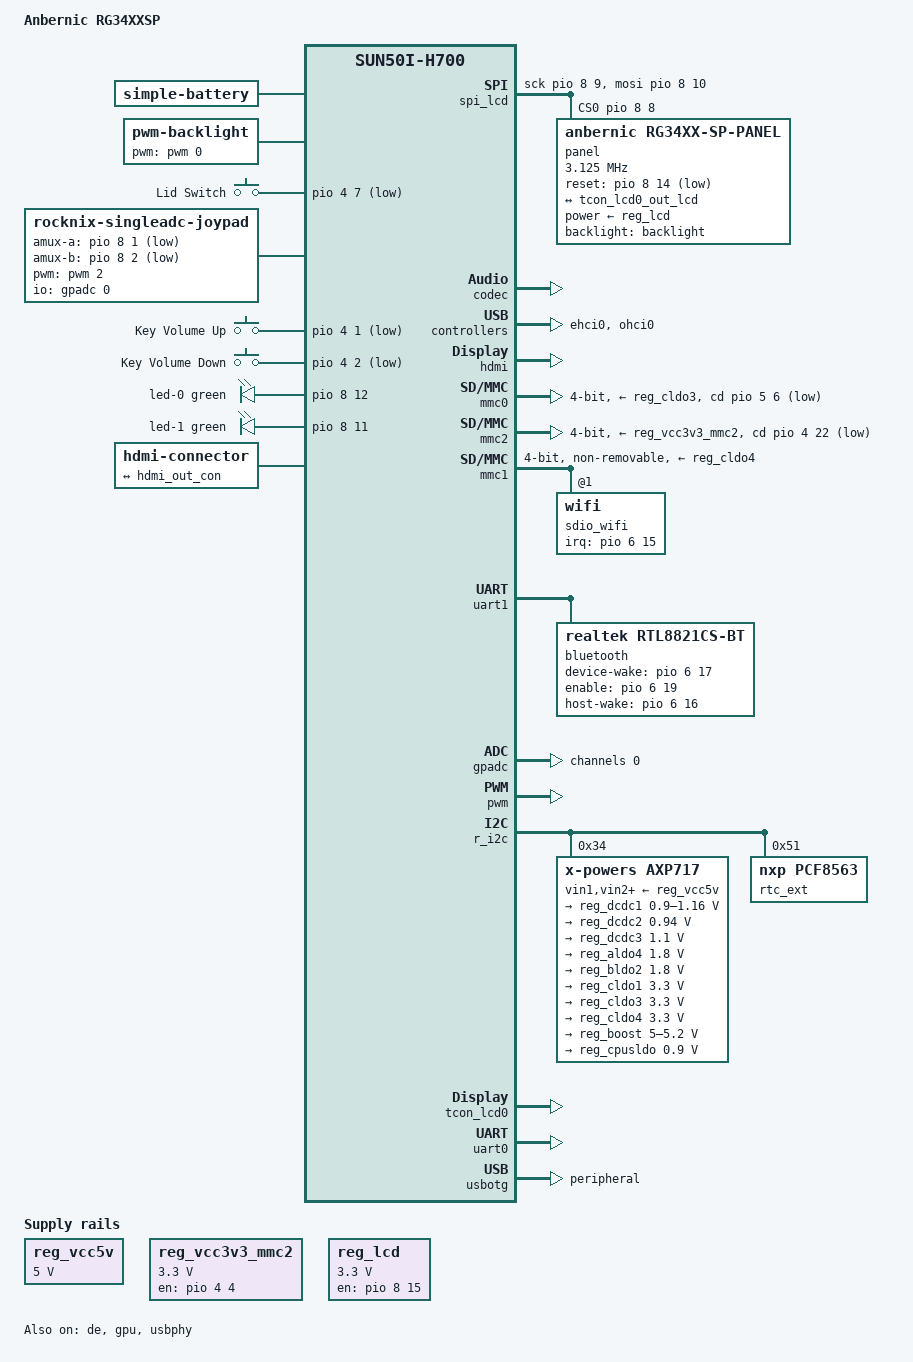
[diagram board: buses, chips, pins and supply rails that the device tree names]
// SPDX-License-Identifier: (GPL-2.0-only OR BSD-2-Clause)
/*
 * Anbernic RG34XXSP -- Allwinner H700 (sun50i-h700) handheld
 *
 * Standalone board DTS. It is a merge of, and stays byte-compatible with:
 *
 *   arch/arm64/boot/dts/allwinner/sun50i-h700-anbernic-rg35xx-2024.dts
 *   arch/arm64/boot/dts/allwinner/sun50i-h700-anbernic-rg35xx-sp.dts
 *   arch/arm64/boot/dts/allwinner/sun50i-h700-anbernic-rg35xx-plus.dts
 *       (C) 2024 Ryan Walklin <ryan@testtoast.com>
 *       (C) 2024 Chris Morgan <macroalpha82@gmail.com>
 *
 * plus the Anbernic-specific pieces from ROCKNIX
 * (projects/ROCKNIX/devices/H700, same authors):
 *   - 640/720x480 MIPI-DPI-over-SPI panel ("panel-mipi-dpi-spi")
 *   - pwm-backlight on PWM0 / PD28
 *   - rocknix-singleadc-joypad: GPIO buttons + 4-channel ADC stick mux, rumble
 *   - MMC2 second SD slot (TF2)
 *
 * Kernel requirements -- this file does NOT build against plain mainline:
 *   - ROCKNIX patches 0002 (H616 DE/TCON/HDMI nodes + drm/sun4i changes)
 *     and 0008 (H616 PWM controller, provides &pwm)
 *   - CONFIG_DRM_PANEL_MIPI          driver: drivers/gpu/drm/panel/panel-mipi.c
 *                                    (ROCKNIX patch 0110/0111)
 *   - CONFIG_INPUT_JOYSTICK +        driver: rocknix-singleadc-joypad
 *                                    (ROCKNIX patches 0140/0150)
 *   - CONFIG_SPI_GPIO                for the bit-banged panel control bus
 *   - ROCKNIX patches 0126 (MMC2), 0153 (RGB LEDs), 0155 (RGB as DSI)
 *   See ../README.md for the full list.
 */

/dts-v1/;

#include "sun50i-h616.dtsi"
#include "sun50i-h616-cpu-opp.dtsi"
#include <dt-bindings/gpio/gpio.h>
#include <dt-bindings/input/gpio-keys.h>
#include <dt-bindings/input/linux-event-codes.h>
#include <dt-bindings/interrupt-controller/arm-gic.h>
#include <dt-bindings/leds/common.h>

/ {
	model = "Anbernic RG34XXSP";
	compatible = "anbernic,rg34xx-sp", "allwinner,sun50i-h700";
	chassis-type = "handset";

	aliases {
		mmc0 = &mmc0;	/* TF1: OS card */
		mmc1 = &mmc2;	/* TF2: content card */
		mmc2 = &mmc1;	/* SDIO Wi-Fi */
		serial0 = &uart0;
	};

	chosen {
		stdout-path = "serial0:115200n8";
	};

	battery: battery {
		compatible = "simple-battery";
		constant-charge-current-max-microamp = <1024000>;
		voltage-max-design-microvolt = <4200000>;
	};

	/*
	 * Backlight: PWM0 on PD28. Full scale is 2499 raw steps (that number
	 * comes from the stock userspace contract of this exact board), and the
	 * pwm-backlight table below spans 0..2499 so userspace can use raw
	 * values without rescaling.
	 */
	backlight: backlight {
		compatible = "pwm-backlight";
		pwms = <&pwm 0 40000 0>;		/* 25 kHz */
		pinctrl-0 = <&lcd_backlight_pin>;
		pinctrl-names = "default";

		brightness-levels = <0 4 8 16 32 60 100 150 200 260 330 410
				     500 600 720 860 1020 1200 1400 1650
				     1900 2200 2499>;
		default-brightness-level = <15>;	/* 860 / 2499 ~= 34% */
	};

	/*
	 * Lid switch (clamshell, like a GBA SP). PE7, active low, wakes the
	 * system when the lid opens.
	 */
	gpio-keys-lid {
		compatible = "gpio-keys";

		lid-switch {
			label = "Lid Switch";
			gpios = <&pio 4 7 GPIO_ACTIVE_LOW>;	/* PE7 */
			linux,input-type = <EV_SW>;
			linux,code = <SW_LID>;
			linux,can-disable;
			wakeup-event-action = <EV_ACT_DEASSERTED>;
			wakeup-source;
		};
	};

	/*
	 * Complete gamepad. The kernel driver reports it as
	 * "H700 Gamepad", bus 0x19, vendor 0x484b, product 0x14df, version 0x0100
	 * which is what device/anbernic/rg34xxsp/keylayout/.../kl expects.
	 *
	 * Analog sticks: one ADC channel (gpadc ch0) behind a 2-bit GPIO mux on
	 * PI1/PI2; PI0 is the mux enable. Right stick is inverted on this board.
	 */
	joypad: rocknix-singleadc-joypad {
		compatible = "rocknix-singleadc-joypad";
		hw_info = <0x01>;

		joypad-name = "H700 Gamepad";
		joypad-product = <0x14DF>;
		joypad-revision = <0x0100>;
		joypad-vendor = <0x484B>;

		status = "okay";

		/* Rumble motor on PWM2 / PH2. */
		pwms = <&pwm 2 1000000 0>;
		pwm-names = "enable";
		rumble-boost-weak = <0>;
		rumble-boost-strong = <0>;

		pinctrl-names = "default";
		pinctrl-0 = <&joy_mux_pin>, <&pwm2_pin>;

		io-channel-names = "amux_adc";
		io-channels = <&gpadc 0>;

		amux-count = <4>;
		/* ABS_RY ABS_RX ABS_Y ABS_X */
		amux-channel-mapping = <0 2 1 3>;

		amux-a-gpios = <&pio 8 1 GPIO_ACTIVE_LOW>;	/* PI1 */
		amux-b-gpios = <&pio 8 2 GPIO_ACTIVE_LOW>;	/* PI2 */

		button-adc-scale = <2>;
		button-adc-deadzone = <128>;
		button-adc-fuzz = <32>;
		button-adc-flat = <32>;

		abs_x-p-tuning = <70>;
		abs_x-n-tuning = <70>;
		invert-absx;

		abs_y-p-tuning = <70>;
		abs_y-n-tuning = <70>;
		invert-absy;

		abs_rx-p-tuning = <70>;
		abs_rx-n-tuning = <70>;

		abs_ry-p-tuning = <70>;
		abs_ry-n-tuning = <70>;

		poll-interval = <10>;
		/* autorepeat; */

		sw1 {
			gpios = <&pio 0 6 GPIO_ACTIVE_LOW>;	/* PA6 */
			label = "GPIO DPAD-UP";
			linux,code = <BTN_DPAD_UP>;
		};
		sw2 {
			gpios = <&pio 4 0 GPIO_ACTIVE_LOW>;	/* PE0 */
			label = "GPIO DPAD-DOWN";
			linux,code = <BTN_DPAD_DOWN>;
		};
		sw3 {
			gpios = <&pio 0 8 GPIO_ACTIVE_LOW>;	/* PA8 */
			label = "GPIO DPAD-LEFT";
			linux,code = <BTN_DPAD_LEFT>;
		};
		sw4 {
			gpios = <&pio 0 9 GPIO_ACTIVE_LOW>;	/* PA9 */
			label = "GPIO DPAD-RIGHT";
			linux,code = <BTN_DPAD_RIGHT>;
		};
		sw5 {
			gpios = <&pio 0 0 GPIO_ACTIVE_LOW>;	/* PA0 */
			label = "GPIO BTN-A";
			linux,code = <BTN_EAST>;
		};
		sw6 {
			gpios = <&pio 0 1 GPIO_ACTIVE_LOW>;	/* PA1 */
			label = "GPIO BTN-B";
			linux,code = <BTN_SOUTH>;
		};
		sw7 {
			gpios = <&pio 0 3 GPIO_ACTIVE_LOW>;	/* PA3 */
			label = "GPIO BTN-X";
			linux,code = <BTN_NORTH>;
		};
		sw8 {
			gpios = <&pio 0 2 GPIO_ACTIVE_LOW>;	/* PA2 */
			label = "GPIO BTN-Y";
			linux,code = <BTN_WEST>;
		};
		sw9 {
			gpios = <&pio 0 5 GPIO_ACTIVE_LOW>;	/* PA5 */
			label = "BTN_SELECT";
			linux,code = <BTN_SELECT>;
		};
		sw10 {
			gpios = <&pio 0 4 GPIO_ACTIVE_LOW>;	/* PA4 */
			label = "BTN_START";
			linux,code = <BTN_START>;
		};
		sw11 {
			gpios = <&pio 4 3 GPIO_ACTIVE_LOW>;	/* PE3 */
			label = "GPIO BTN_F";
			linux,code = <BTN_MODE>;
		};
		sw12 {
			gpios = <&pio 4 8 GPIO_ACTIVE_LOW>;	/* PE8 */
			label = "BTN_THUMBL";
			linux,code = <BTN_THUMBL>;
		};
		sw13 {
			gpios = <&pio 4 9 GPIO_ACTIVE_LOW>;	/* PE9 */
			label = "BTN_THUMBR";
			linux,code = <BTN_THUMBR>;
		};
		sw14 {
			gpios = <&pio 0 12 GPIO_ACTIVE_LOW>;	/* PA12 */
			label = "GPIO BTN_TR";
			linux,code = <BTN_TR>;
		};
		sw15 {
			gpios = <&pio 0 7 GPIO_ACTIVE_LOW>;	/* PA7 */
			label = "GPIO BTN_TR2";
			linux,code = <BTN_TR2>;
		};
		sw16 {
			gpios = <&pio 0 10 GPIO_ACTIVE_LOW>;	/* PA10 */
			label = "GPIO BTN_TL";
			linux,code = <BTN_TL>;
		};
		sw17 {
			gpios = <&pio 0 11 GPIO_ACTIVE_LOW>;	/* PA11 */
			label = "GPIO BTN_TL2";
			linux,code = <BTN_TL2>;
		};
	};

	gpio-keys-volume {
		compatible = "gpio-keys";
		autorepeat;

		button-vol-up {
			label = "Key Volume Up";
			gpios = <&pio 4 1 GPIO_ACTIVE_LOW>;	/* PE1 */
			linux,input-type = <EV_KEY>;
			linux,code = <KEY_VOLUMEUP>;
		};

		button-vol-down {
			label = "Key Volume Down";
			gpios = <&pio 4 2 GPIO_ACTIVE_LOW>;	/* PE2 */
			linux,input-type = <EV_KEY>;
			linux,code = <KEY_VOLUMEDOWN>;
		};
	};

	leds {
		compatible = "gpio-leds";

		led-0 {
			function = LED_FUNCTION_POWER;
			color = <LED_COLOR_ID_GREEN>;
			gpios = <&pio 8 12 GPIO_ACTIVE_HIGH>;	/* PI12 */
			default-state = "on";
		};

		led-1 {
			function = LED_FUNCTION_STATUS;
			color = <LED_COLOR_ID_GREEN>;
			gpios = <&pio 8 11 GPIO_ACTIVE_HIGH>;	/* PI11 */
		};
	};

	reg_vcc5v: regulator-vcc5v {		/* USB-C power input */
		compatible = "regulator-fixed";
		regulator-name = "vcc-5v";
		regulator-min-microvolt = <5000000>;
		regulator-max-microvolt = <5000000>;
	};

	/* 3.3 V rail that feeds the second SD slot (TF2). */
	reg_vcc3v3_mmc2: regulator-vcc3v3-mmc2 {
		compatible = "regulator-fixed";
		enable-active-high;
		gpio = <&pio 4 4 GPIO_ACTIVE_HIGH>;	/* PE4 */
		regulator-min-microvolt = <3300000>;
		regulator-max-microvolt = <3300000>;
		regulator-name = "vcc3v3-mmc2";
	};

	/* Panel analog supply, gated by PI15. */
	reg_lcd: regulator-gpio-lcd-vdd {
		compatible = "regulator-fixed";
		regulator-min-microvolt = <3300000>;
		regulator-max-microvolt = <3300000>;
		regulator-name = "vdd-lcd";
		gpio = <&pio 8 15 GPIO_ACTIVE_HIGH>;	/* PI15 */
		enable-active-high;
	};

	/*
	 * Panel control bus is bit-banged GPIO "SPI" (3-wire): SCK PI9,
	 * MOSI PI10, CS PI8. The panel itself is a 24-bit RGB MIPI-DPI panel
	 * driven by the SoC's TCON_LCD0, initialized over this bus.
	 */
	spi_lcd: spi {
		compatible = "spi-gpio";
		#address-cells = <1>;
		#size-cells = <0>;

		sck-gpios = <&pio 8 9 GPIO_ACTIVE_HIGH>;	/* PI9 */
		mosi-gpios = <&pio 8 10 GPIO_ACTIVE_HIGH>;	/* PI10 */
		cs-gpios = <&pio 8 8 GPIO_ACTIVE_HIGH>;		/* PI8 */
		num-chipselects = <1>;

		panel: panel@0 {
			compatible = "anbernic,rg34xx-sp-panel",
				     "panel-mipi-dpi-spi";
			reg = <0>;

			spi-max-frequency = <3125000>;
			spi-3wire;

			reset-gpios = <&pio 8 14 GPIO_ACTIVE_LOW>;	/* PI14 */
			backlight = <&backlight>;
			power-supply = <&reg_lcd>;

			pinctrl-0 = <&lcd0_rgb888_pins>;
			pinctrl-names = "default";

			port {
				panel_in_rgb: endpoint {
					remote-endpoint = <&tcon_lcd0_out_lcd>;
				};
			};
		};
	};

	/* Mini-HDMI out. */
	connector {
		compatible = "hdmi-connector";
		type = "d";

		port {
			hdmi_con_in: endpoint {
				remote-endpoint = <&hdmi_out_con>;
			};
		};
	};
};

&codec {
	/* Speakers and headphone jack share a 74HC4052D analog mux. */
	allwinner,audio-routing = "Speaker", "LINEOUT",
				  "Headphone", "LINEOUT";
	allwinner,pa-gpios = <&pio 8 5 GPIO_ACTIVE_HIGH>;	/* PI5  */
	hp-det-gpios = <&pio 8 3 GPIO_ACTIVE_HIGH>;		/* PI3  */
	status = "okay";
};

&cpu0 {
	cpu-supply = <&reg_dcdc1>;
};

&de {
	status = "okay";
};

&ehci0 {
	status = "okay";
};

&gpu {
	mali-supply = <&reg_dcdc2>;
	status = "okay";
};

&hdmi {
	status = "okay";
};

&hdmi_out {
	hdmi_out_con: endpoint {
		remote-endpoint = <&hdmi_con_in>;
	};
};

/* TF1 -- the card the OS boots from. */
&mmc0 {
	bus-width = <4>;
	cd-gpios = <&pio 5 6 GPIO_ACTIVE_LOW>;		/* PF6 */
	disable-wp;
	no-1-8-v;
	vmmc-supply = <&reg_cldo3>;
	status = "okay";
};

/* TF2 -- content card. */
&mmc2 {
	bus-width = <4>;
	cd-gpios = <&pio 4 22 GPIO_ACTIVE_LOW>;		/* PE22 */
	disable-wp;
	no-1-8-v;
	vmmc-supply = <&reg_vcc3v3_mmc2>;
	vqmmc-supply = <&reg_cldo3>;
	status = "okay";
};

/*
 * SDIO Wi-Fi: RTL8821CS. The wiring is inherited from the RG35XX Plus, which
 * the RG34XX family is derived from -- verify on your unit before trusting it
 * (cheaper RG34XX batches have shipped with other modules).
 *
 * The 32 kHz low-power clock is NOT modelled here: it needs the x32k-fanout
 * pinctrl function and pin, which differ between board revisions. Add
 * mmc-pwrseq once you have confirmed the pin from the stock DTB.
 */
&mmc1 {
	vmmc-supply = <&reg_cldo4>;
	vqmmc-supply = <&reg_aldo4>;
	bus-width = <4>;
	non-removable;
	status = "okay";

	sdio_wifi: wifi@1 {
		reg = <1>;
		interrupt-parent = <&pio>;
		interrupts = <6 15 IRQ_TYPE_LEVEL_LOW>;		/* PG15 */
		interrupt-names = "host-wake";
	};
};

/* Bluetooth half of the RTL8821CS, on UART1. */
&uart1 {
	pinctrl-names = "default";
	pinctrl-0 = <&uart1_pins>, <&uart1_rts_cts_pins>;
	uart-has-rtscts;
	status = "okay";

	bluetooth {
		compatible = "realtek,rtl8821cs-bt", "realtek,rtl8723bs-bt";
		device-wake-gpios = <&pio 6 17 GPIO_ACTIVE_HIGH>;	/* PG17 */
		enable-gpios = <&pio 6 19 GPIO_ACTIVE_HIGH>;		/* PG19 */
		host-wake-gpios = <&pio 6 16 GPIO_ACTIVE_HIGH>;		/* PG16 */
	};
};

&ohci0 {
	status = "okay";
};

&pio {
	vcc-pa-supply = <&reg_cldo3>;
	vcc-pc-supply = <&reg_cldo3>;
	vcc-pd-supply = <&reg_cldo3>;
	vcc-pe-supply = <&reg_cldo3>;
	vcc-pf-supply = <&reg_cldo3>;
	vcc-pg-supply = <&reg_aldo4>;
	vcc-ph-supply = <&reg_cldo3>;
	vcc-pi-supply = <&reg_cldo3>;

	lcd_backlight_pin: pwm0-pin {
		pins = "PD28";
		function = "pwm0";
	};

	/omit-if-no-ref/
	pwm2_pin: pwm2-pin {
		pins = "PH2";
		function = "pwm2";
	};

	joy_mux_pin: joy-mux-pin {
		pins = "PI0";
		function = "gpio_out";
	};
};

&gpadc {
	#address-cells = <1>;
	#size-cells = <0>;
	status = "okay";

	channel@0 {
		reg = <0>;
	};
};

&pwm {
	status = "okay";
};

&r_i2c {
	status = "okay";

	axp717: pmic@34 {
		compatible = "x-powers,axp717";
		reg = <0x34>;
		interrupt-controller;
		#interrupt-cells = <1>;
		interrupt-parent = <&nmi_intc>;
		interrupts = <0 IRQ_TYPE_LEVEL_LOW>;

		vin1-supply = <&reg_vcc5v>;
		vin2-supply = <&reg_vcc5v>;
		vin3-supply = <&reg_vcc5v>;
		vin4-supply = <&reg_vcc5v>;

		axp_adc: adc {
			compatible = "x-powers,axp717-adc";
			#io-channel-cells = <1>;
		};

		battery_power: battery-power {
			compatible = "x-powers,axp717-battery-power-supply";
			monitored-battery = <&battery>;
			x-powers,no-thermistor;
		};

		regulators {
			reg_dcdc1: dcdc1 {
				regulator-always-on;
				regulator-min-microvolt = <900000>;
				regulator-max-microvolt = <1160000>;
				regulator-name = "vdd-cpu";
			};

			reg_dcdc2: dcdc2 {
				regulator-always-on;
				regulator-min-microvolt = <940000>;
				regulator-max-microvolt = <940000>;
				regulator-name = "vdd-gpu-sys";
			};

			reg_dcdc3: dcdc3 {
				regulator-always-on;
				regulator-min-microvolt = <1100000>;
				regulator-max-microvolt = <1100000>;
				regulator-name = "vdd-dram";
			};

			reg_aldo1: aldo1 {
				/* 1.8 V - unused */
			};

			reg_aldo2: aldo2 {
				/* 1.8 V - unused */
			};

			reg_aldo3: aldo3 {
				/* 1.8 V - unused */
			};

			reg_aldo4: aldo4 {
				regulator-min-microvolt = <1800000>;
				regulator-max-microvolt = <1800000>;
				regulator-name = "avcc";
			};

			reg_bldo1: bldo1 {
				/* 1.8 V - unused */
			};

			reg_bldo2: bldo2 {
				regulator-always-on;
				regulator-min-microvolt = <1800000>;
				regulator-max-microvolt = <1800000>;
				regulator-name = "vcc-pll";
			};

			reg_bldo3: bldo3 {
				/* 2.8 V - unused */
			};

			reg_bldo4: bldo4 {
				/* 1.2 V - unused */
			};

			reg_cldo1: cldo1 {
				regulator-always-on;
				regulator-min-microvolt = <3300000>;
				regulator-max-microvolt = <3300000>;
				regulator-name = "vcc-spkr-amp";
			};

			reg_cldo2: cldo2 {
				/* 3.3 V - unused */
			};

			reg_cldo3: cldo3 {
				regulator-always-on;
				regulator-min-microvolt = <3300000>;
				regulator-max-microvolt = <3300000>;
				regulator-name = "vcc-io";
			};

			reg_cldo4: cldo4 {
				regulator-min-microvolt = <3300000>;
				regulator-max-microvolt = <3300000>;
				regulator-name = "vcc-wifi";
			};

			reg_boost: boost {
				regulator-min-microvolt = <5000000>;
				regulator-max-microvolt = <5200000>;
				regulator-name = "boost";
			};

			/*
			 * Function unknown, but the stock bootloader reads
			 * inconsistent GPIO values on reboot if it is disabled.
			 */
			reg_cpusldo: cpusldo {
				regulator-always-on;
				regulator-boot-on;
				regulator-min-microvolt = <900000>;
				regulator-max-microvolt = <900000>;
			};
		};

		usb_power: usb-power {
			compatible = "x-powers,axp717-usb-power-supply";
			input-current-limit-microamp = <1500000>;
		};
	};

	/* External RTC (keeps time across battery pulls). */
	rtc_ext: rtc@51 {
		compatible = "nxp,pcf8563";
		reg = <0x51>;
	};
};

&tcon_lcd0 {
	status = "okay";
};

&tcon_lcd0_out_lcd {
	remote-endpoint = <&panel_in_rgb>;
};

&uart0 {
	pinctrl-names = "default";
	pinctrl-0 = <&uart0_ph_pins>;
	status = "okay";
};

/* USB-C: peripheral (adb / fastboot) by default. */
&usbotg {
	dr_mode = "peripheral";
	status = "okay";
};

&usbphy {
	status = "okay";
};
